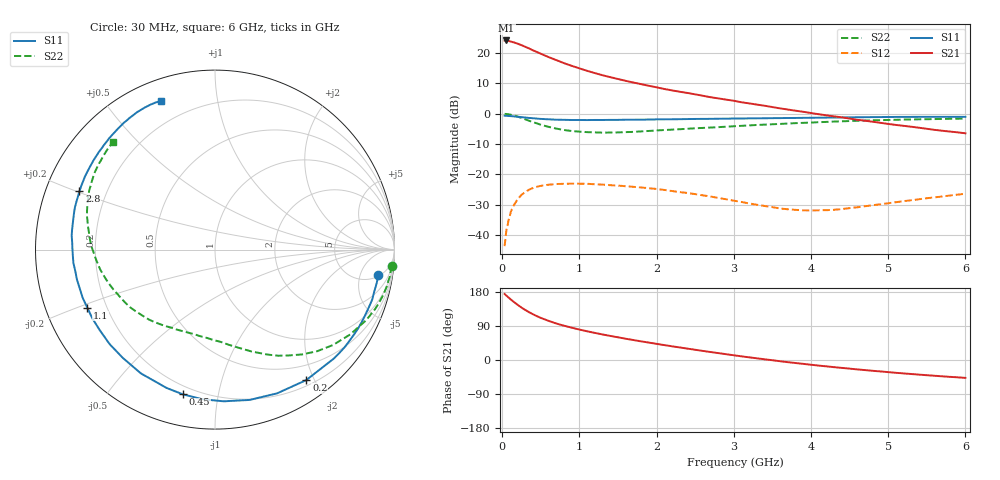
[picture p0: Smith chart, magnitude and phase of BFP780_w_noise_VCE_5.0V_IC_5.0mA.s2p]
! Infineon Technologies  Discrete & RF Semiconductors
! BFP780
! VCE =  5.0 V,  IC =  5.0 mA
! Common Emitter S-Parameters:  Jul 2015
# GHz  S  MA  R  50
!  f  S11  S21  S12  S22
! GHz  MAG  ANG  MAG  ANG  MAG  ANG  MAG  ANG
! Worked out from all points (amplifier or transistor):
!   75 points, 30 MHz to 6 GHz, reference 50 ohm
!   highest |S21| = 24.1 dB at 50 MHz (marker M1)
!   |S21| within 3 dB of that: start of sweep to 376.9 MHz
!   unconditionally stable (mu >= 1): 2.796 GHz to end of sweep
!   at 150 MHz: K = 0.05, MSG = 26.8 dB, |S12| = -30.2 dB
!   at 2.3 GHz: K = 0.69, MSG = 16.6 dB, |S12| = -25.9 dB
!   at 6 GHz: K = 1.52, MAG = 5.7 dB, |S12| = -26.4 dB
!   lowest NFmin = 0.72 dB at 450 MHz
!   S11 on the Smith chart (normalised r, x): 30 MHz: 5, -10; 200 MHz: 0.28, -1.89; 450 MHz: 0.16, -0.79; 1.1 GHz: 0.13, -0.21; 2.8 GHz: 0.10, +0.20; 6 GHz: 0.09, +0.70
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0.03  0.9216 -8.9  16.02 174.3  0.0065 76.6  0.9906 -5.3
0.05  0.9176 -14.7  16.07 170.4  0.0111 82.4  0.9858 -8.7
0.08  0.9131 -23.4  15.87 165.0  0.0173 75.2  0.9744 -13.7
0.11  0.9073 -31.7  15.48 159.7  0.0238 70.8  0.9577 -18.8
0.15  0.8983 -42.5  14.94 153.2  0.0309 63.5  0.929 -25.1
0.2  0.8872 -55.0  14.2 145.5  0.0389 56.2  0.8895 -32.1
0.25  0.8724 -66.6  13.42 138.2  0.0458 49.9  0.8452 -39.0
0.3  0.8596 -77.0  12.59 131.8  0.051 44.2  0.8023 -44.9
0.35  0.8466 -86.7  11.83 125.8  0.0558 38.8  0.7591 -50.3
0.45  0.8261 -102.5  10.36 115.5  0.0622 29.3  0.6884 -59.2
0.6  0.8039 -120.9  8.54 103.2  0.0671 19.0  0.6035 -70.2
0.7  0.7923 -130.5  7.617 96.3  0.0689 13.3  0.5653 -76.0
0.9  0.7835 -144.8  6.124 85.2  0.0698 4.3  0.5155 -86.4
1.1  0.7814 -155.6  5.064 75.7  0.0694 -2.8  0.4938 -95.4
1.3  0.7841 -164.0  4.283 67.4  0.0673 -8.7  0.4851 -104.0
1.6  0.7923 -174.4  3.463 56.1  0.0633 -16.0  0.4942 -115.8
2.1  0.8039 172.2  2.543 39.3  0.055 -25.5  0.5354 -133.1
2.8  0.8222 156.7  1.78 18.2  0.0406 -31.5  0.5971 -155.5
3.1  0.8308 150.9  1.536 9.6  0.0348 -31.1  0.628 -164.4
4.1  0.8559 133.4  0.975 -14.8  0.0254 -4.3  0.7203 169.5
5.1  0.8802 119.6  0.649 -33.8  0.0345 17.3  0.7904 149.1
6  0.8837 110.0  0.473 -47.2  0.0476 18.0  0.8258 133.5
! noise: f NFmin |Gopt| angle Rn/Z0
0.45  0.72  0.3  88  0.11
0.9  0.88  0.34  112  0.11
1.5  1.2  0.46  153  0.07
1.8  1.51  0.5  166  0.06
2.4  1.86  0.56  -178  0.08
3  2.44  0.62  -161  0.14
3.5  3.41  0.66  -147  0.29
